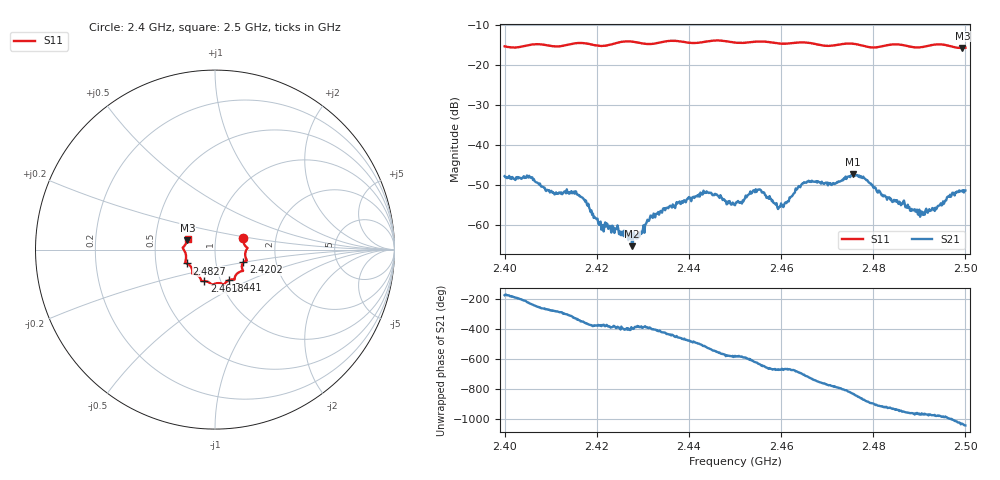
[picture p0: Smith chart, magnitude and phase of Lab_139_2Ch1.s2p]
# Hz S RI R 50
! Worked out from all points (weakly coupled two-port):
!   601 points, 2.4 GHz to 2.5 GHz, reference 50 ohm
!   highest |S21| = -47.32 dB at 2.4757 GHz (marker M1); lowest = -65.2 dB at 2.4277 GHz (marker M2)
!   lowest |S11| = -15.8 dB at 2.4993 GHz (marker M3), VSWR 1.39, Z = 36.5 + j3.84 ohm
!   |S11| at or under -10 dB: start of sweep to end of sweep
!   S12 and S22 are empty: the file has one direction only
!   S11 on the Smith chart (normalised r, x): 2.4 GHz: 1.36, +0.18; 2.4202 GHz: 1.36, -0.20; 2.441 GHz: 1.10, -0.39; 2.4618 GHz: 0.84, -0.30; 2.4827 GHz: 0.72, -0.12; 2.5 GHz: 0.73, +0.09
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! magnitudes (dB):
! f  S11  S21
! 2.4 GHz  -15.4  -47.8
! 2.4053 GHz  -15.0  -47.7
! 2.4103 GHz  -15.3  -51.8
! 2.4167 GHz  -14.5  -53.0
! 2.4202 GHz  -15.2  -58.4
! 2.4277 GHz  -14.2  -65.2
! 2.4333 GHz  -14.5  -56.7
! 2.441 GHz  -14.6  -52.9
! 2.4443 GHz  -14.1  -52.0
! 2.45 GHz  -14.5  -55.0
! 2.455 GHz  -14.2  -51.1
! 2.4593 GHz  -14.7  -56.0
! 2.4618 GHz  -14.6  -53.1
! 2.4642 GHz  -14.4  -50.5
! 2.4667 GHz  -14.6  -48.9
! 2.4713 GHz  -15.2  -49.5
! 2.4757 GHz  -14.7  -47.3
! 2.4827 GHz  -15.2  -52.9
! 2.4833 GHz  -15.0  -53.1
! 2.4907 GHz  -15.6  -57.2
! 2.4993 GHz  -15.8  -51.6
! 2.5 GHz  -15.7  -51.3
